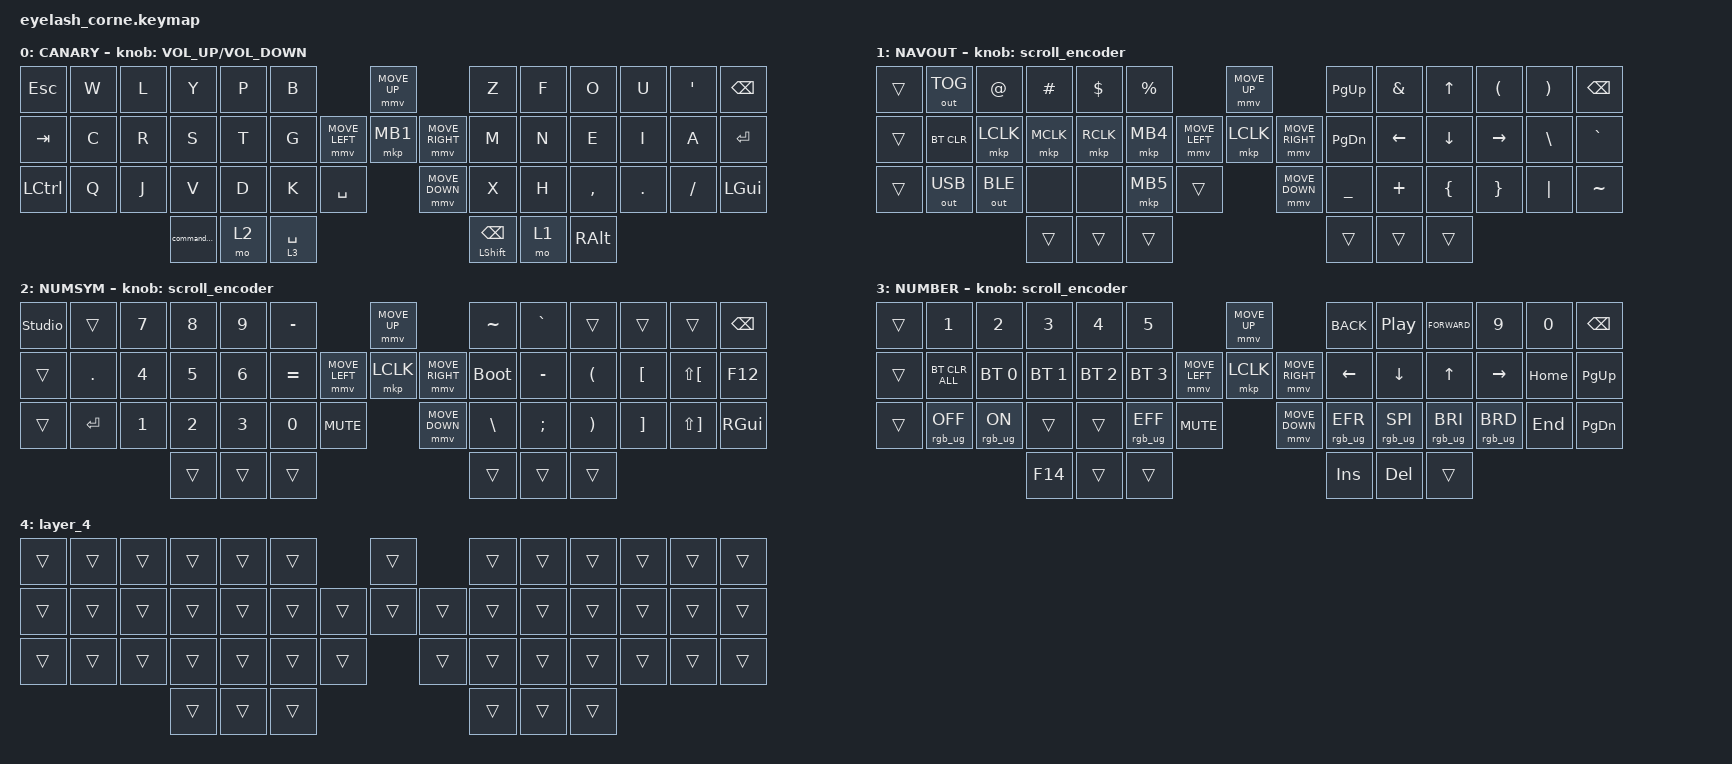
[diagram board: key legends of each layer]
#define ZMK_POINTING_DEFAULT_MOVE_VAL 1200  // 600
#define ZMK_POINTING_DEFAULT_SCRL_VAL 25   // 10

#include <input/processors.dtsi>
#include <zephyr/dt-bindings/input/input-event-codes.h>
#include <behaviors.dtsi>
#include <dt-bindings/zmk/bt.h>
#include <dt-bindings/zmk/keys.h>
#include <dt-bindings/zmk/outputs.h>
#include <dt-bindings/zmk/pointing.h>
#include <dt-bindings/zmk/rgb.h>

&mmv_input_listener { input-processors = <&zip_xy_scaler 2 1>; };

&msc_input_listener { input-processors = <&zip_scroll_scaler 2 1>; };

&msc {
    acceleration-exponent = <1>;      // 0
    time-to-max-speed-ms = <100>;       // 300
    delay-ms = <0>;                   // 0
};

&mmv {
    time-to-max-speed-ms = <500>;
    acceleration-exponent = <1>;
    trigger-period-ms = <16>;
};

/ {
    behaviors {
        td0: td0 {
            compatible = "zmk,behavior-tap-dance";
            display-name = "Shift/Caps Lock Tap Dance";
            #binding-cells = <0>;
            bindings = <&kp LEFT_SHIFT>, <&kp CAPS>;
        };
    };

    rgb_encoder: rgb_encoder {
        compatible = "zmk,behavior-sensor-rotate";
        #sensor-binding-cells = <0>;
        bindings = <&rgb_ug RGB_BRI>, <&rgb_ug RGB_BRD>;
    };

    scroll_encoder: scroll_encoder {
        compatible = "zmk,behavior-sensor-rotate";
        #sensor-binding-cells = <0>;
        bindings = <&msc SCRL_DOWN>, <&msc SCRL_UP>;

        tap-ms = <100>;
    };

    macros {
        commandPalette: commandPalette {
            compatible = "zmk,behavior-macro";
            #binding-cells = <0>;
            bindings = <&kp LG(LS(Q))>;
            label = "COMMANDPALETTE";
        };
    };

    keymap {
        compatible = "zmk,keymap";

        default_layer {
            display-name = "CANARY";
            bindings = <
&kp ESCAPE  &kp W  &kp L  &kp Y            &kp P  &kp B                                     &mmv MOVE_UP                     &kp Z                     &kp F  &kp O      &kp U    &kp SQT   &kp BSPC
&kp TAB     &kp C  &kp R  &kp S            &kp T  &kp G                     &mmv MOVE_LEFT  &mkp MB1        &mmv MOVE_RIGHT  &kp M                     &kp N  &kp E      &kp I    &kp A     &kp ENTER
&kp LCTRL   &kp Q  &kp J  &kp V            &kp D  &kp K        &kp SPACE                    &mmv MOVE_DOWN                   &kp X                     &kp H  &kp COMMA  &kp DOT  &kp FSLH  &kp LEFT_GUI
                          &commandPalette  &mo 2  &lt 3 SPACE                                                                &mt LEFT_SHIFT BACKSPACE  &mo 1  &kp RALT
            >;

            sensor-bindings = <&inc_dec_kp C_VOLUME_UP C_VOLUME_DOWN>;
        };

        NAVBT {
            display-name = "NAVOUT";
            bindings = <
&trans  &out OUT_TOG  &kp AT        &kp HASH   &kp DLLR   &kp PRCNT                            &mmv MOVE_UP                     &kp PAGE_UP    &kp AMPS  &kp UP_ARROW  &kp LPAR   &kp RPAR  &kp BSPC
&trans  &bt BT_CLR    &mkp LCLK     &mkp MCLK  &mkp RCLK  &mkp MB4             &mmv MOVE_LEFT  &mkp LCLK       &mmv MOVE_RIGHT  &kp PAGE_DOWN  &kp LEFT  &kp DOWN      &kp RIGHT  &kp BSLH  &kp GRAVE
&trans  &out OUT_USB  &out OUT_BLE  &none      &none      &mkp MB5   &trans                    &mmv MOVE_DOWN                   &kp UNDER      &kp PLUS  &kp LBRC      &kp RBRC   &kp PIPE  &kp TILDE
                                    &trans     &trans     &trans                                                                &trans         &trans    &trans
            >;

            sensor-bindings = <&scroll_encoder>;
        };

        numsym {
            display-name = "NUMSYM";
            bindings = <
&studio_unlock  &trans      &kp N7        &kp N8  &kp N9  &kp MINUS                                &mmv MOVE_UP                     &kp TILDE      &kp GRAVE  &trans                 &trans             &trans                 &kp BACKSPACE
&trans          &kp PERIOD  &kp N4        &kp N5  &kp N6  &kp EQUAL                &mmv MOVE_LEFT  &mkp LCLK       &mmv MOVE_RIGHT  &bootloader    &kp MINUS  &kp LEFT_PARENTHESIS   &kp LBKT           &kp LS(LEFT_BRACKET)   &kp F12
&trans          &kp ENTER   &kp NUMBER_1  &kp N2  &kp N3  &kp N0     &kp C_MUTE                    &mmv MOVE_DOWN                   &kp BACKSLASH  &kp SEMI   &kp RIGHT_PARENTHESIS  &kp RIGHT_BRACKET  &kp LS(RIGHT_BRACKET)  &kp RIGHT_GUI
                                          &trans  &trans  &trans                                                                    &trans         &trans     &trans
            >;

            sensor-bindings = <&scroll_encoder>;
        };

        lower_layer {
            display-name = "NUMBER";
            bindings = <
&trans  &kp N1           &kp N2          &kp N3        &kp N4        &kp N5                                         &mmv MOVE_UP                     &kp K_BACK       &kp C_PLAY_PAUSE  &kp K_FORWARD    &kp N9           &kp N0    &kp BSPC
&trans  &bt BT_CLR_ALL   &bt BT_SEL 0    &bt BT_SEL 1  &bt BT_SEL 2  &bt BT_SEL 3                   &mmv MOVE_LEFT  &mkp LCLK       &mmv MOVE_RIGHT  &kp LEFT         &kp DOWN          &kp UP           &kp RIGHT        &kp HOME  &kp PG_UP
&trans  &rgb_ug RGB_OFF  &rgb_ug RGB_ON  &trans        &trans        &rgb_ug RGB_EFF  &kp C_MUTE                    &mmv MOVE_DOWN                   &rgb_ug RGB_EFR  &rgb_ug RGB_SPI   &rgb_ug RGB_BRI  &rgb_ug RGB_BRD  &kp END   &kp PG_DN
                                         &kp F14       &trans        &trans                                                                          &kp INS          &kp DEL           &trans
            >;

            sensor-bindings = <&scroll_encoder>;
        };

        layer_4 {
            bindings = <
&trans  &trans  &trans  &trans  &trans  &trans                    &trans          &trans  &trans  &trans  &trans  &trans  &trans
&trans  &trans  &trans  &trans  &trans  &trans            &trans  &trans  &trans  &trans  &trans  &trans  &trans  &trans  &trans
&trans  &trans  &trans  &trans  &trans  &trans  &trans            &trans          &trans  &trans  &trans  &trans  &trans  &trans
                        &trans  &trans  &trans                                    &trans  &trans  &trans
            >;
        };
    };
};
